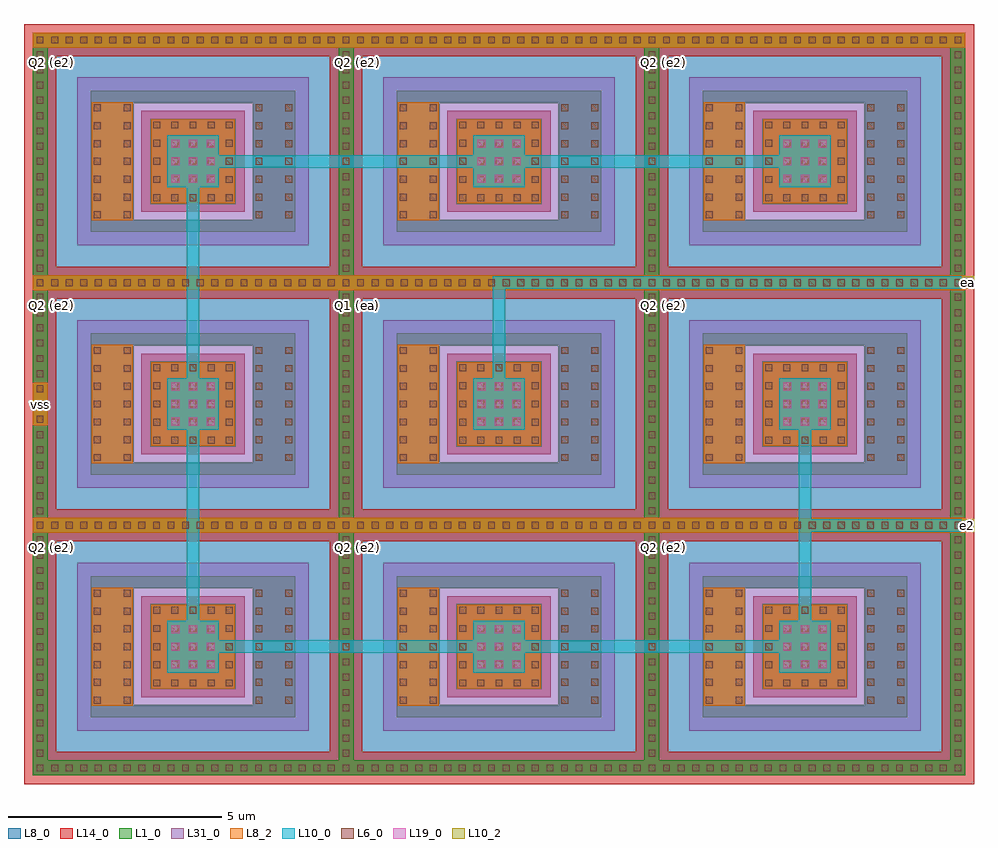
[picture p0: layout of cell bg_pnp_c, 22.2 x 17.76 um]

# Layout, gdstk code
import gdstk
lib = gdstk.Library(unit=1e-6, precision=1e-09)
def R(c, l, rs):  # rectangles x0, y0, x1, y1
    for r in rs: c.add(gdstk.rectangle(r[:2], r[2:], *l))
def A(c, l, x, y, w, h, nx, ny, dx, dy):  # array of equal rectangles
    R(c, l, [(x+i*dx, y+j*dy, x+i*dx+w, y+j*dy+h) for i in range(nx) for j in range(ny)])
def P(c, l, *ps):  # polygons
    for p in ps: c.add(gdstk.Polygon(p, *l))
L1_0 = (1, 0)
L6_0 = (6, 0)
L8_0 = (8, 0)
L8_2 = (8, 2)
L10_0 = (10, 0)
L10_2 = (10, 2)
L14_0 = (14, 0)
L19_0 = (19, 0)
L31_0 = (31, 0)

pnpmpa = lib.new_cell('pnpMPA')
R(pnpmpa, L1_0, [(-1,-1,1,1)])
P(pnpmpa, L1_0, [(-2.39,-1.65),(-2.39,1.36),(-1.39,1.36),(-1.39,-1.36),(1.39,-1.36),(1.39,1.36),(-2.39,1.36),(-2.39,1.65),(2.39,1.65),(2.39,-1.65)],
  [(-3.75,-3.01),(-3.75,2.66),(-3.4,2.66),(-3.4,-2.66),(3.4,-2.66),(3.4,2.66),(-3.75,2.66),(-3.75,3.01),(3.75,3.01),(3.75,-3.01)])
A(pnpmpa, L6_0, -3.655, -2.915, 0.16, 0.16, 11, 2, 0.34, 5.67)
A(pnpmpa, L6_0, 0.09, -2.915, 0.16, 0.16, 10, 2, 0.34, 5.67)
A(pnpmpa, L6_0, -3.655, -2.575, 0.16, 0.16, 1, 4, 0, 0.355)
A(pnpmpa, L6_0, 3.495, -2.575, 0.16, 0.16, 1, 4, 0, 0.355)
A(pnpmpa, L6_0, -2.32, -1.33, 0.16, 0.16, 1, 3, 0, 0.415)
A(pnpmpa, L6_0, -1.62, -1.33, 0.16, 0.16, 1, 3, 0, 0.415)
A(pnpmpa, L6_0, 1.46, -1.33, 0.16, 0.16, 1, 3, 0, 0.415)
A(pnpmpa, L6_0, 2.16, -1.33, 0.16, 0.16, 1, 3, 0, 0.415)
A(pnpmpa, L6_0, -3.655, -1.15, 0.16, 0.16, 1, 3, 0, 0.355)
A(pnpmpa, L6_0, 3.495, -1.15, 0.16, 0.16, 1, 3, 0, 0.355)
A(pnpmpa, L6_0, -0.93, -0.93, 0.16, 0.16, 5, 5, 0.425, 0.425)
A(pnpmpa, L6_0, -3.655, -0.08, 0.16, 0.16, 1, 4, 0, 0.355)
A(pnpmpa, L6_0, -2.32, -0.08, 0.16, 0.16, 1, 3, 0, 0.415)
A(pnpmpa, L6_0, -1.62, -0.08, 0.16, 0.16, 1, 3, 0, 0.415)
A(pnpmpa, L6_0, 1.46, -0.08, 0.16, 0.16, 1, 3, 0, 0.415)
A(pnpmpa, L6_0, 2.16, -0.08, 0.16, 0.16, 1, 3, 0, 0.415)
A(pnpmpa, L6_0, 3.495, -0.08, 0.16, 0.16, 1, 4, 0, 0.355)
A(pnpmpa, L6_0, -3.655, 1.345, 0.16, 0.16, 1, 3, 0, 0.355)
A(pnpmpa, L6_0, 3.495, 1.345, 0.16, 0.16, 1, 3, 0, 0.355)
R(pnpmpa, L6_0, [(3.495,-2.915,3.655,-2.755), (-2.32,1.17,-2.16,1.33), (-1.62,1.17,-1.46,1.33), (1.46,1.17,1.62,1.33), (2.16,1.17,2.32,1.33), (-3.655,2.415,-3.495,2.575), (3.495,2.415,3.655,2.575), (3.495,2.755,3.655,2.915)])
R(pnpmpa, L8_0, [(-3.75,-3.01,3.75,-2.66), (-3.75,-3.01,3.75,-2.66), (-3.75,-2.66,-3.4,2.66), (-3.75,-2.66,-3.4,2.66), (3.4,-2.66,3.75,2.66), (3.4,-2.66,3.75,2.66), (-2.37,-1.38,-1.41,1.38), (-2.37,-1.38,-1.41,1.38), (1.41,-1.38,2.37,1.38), (1.41,-1.38,2.37,1.38), (-0.98,-0.98,0.98,0.98), (-0.98,-0.98,0.98,0.98), (-3.75,2.66,3.75,3.01), (-3.75,2.66,3.75,3.01)])
P(pnpmpa, L8_0, [(-2.37,-1.63),(-2.37,1.38),(-1.41,1.38),(-1.41,-1.38),(1.41,-1.38),(1.41,1.38),(-2.37,1.38),(-2.37,1.63),(2.37,1.63),(2.37,-1.63)])
R(pnpmpa, L8_2, [(-2.37,-1.38,-1.41,1.38), (-0.98,-0.98,0.98,0.98), (-3.75,2.66,3.75,3.01)])
R(pnpmpa, L14_0, [(-1.21,-1.18,1.21,1.18)])
P(pnpmpa, L14_0, [(-3.95,-3.21),(-3.95,2.46),(-3.2,2.46),(-3.2,-2.46),(3.2,-2.46),(3.2,2.46),(-3.95,2.46),(-3.95,3.21),(3.95,3.21),(3.95,-3.21)])
R(pnpmpa, L31_0, [(-2.7,-1.96,2.7,1.96)])
pnpmpa.add(gdstk.Label('PLUS', (0,0), layer=63, texttype=0))
pnpmpa.add(gdstk.Label('MINUS', (-1.89,0), layer=63, texttype=0))
pnpmpa.add(gdstk.Label('pnpMPA', (0,-2.21), layer=63, texttype=0))
pnpmpa.add(gdstk.Label('TIE', (0,2.835), layer=63, texttype=0))

bg_pnp_c = lib.new_cell('bg_pnp_c')
P(bg_pnp_c, L8_0, [(0.55,-14.29),(0.55,-10),(1.58,-10),(1.58,-13.26),(6.32,-13.26),(6.32,-10),(0.55,-10),(0.55,-8.97),(7.35,-8.97),(7.35,-14.29)],
  [(0.55,-8.62),(0.55,-4.33),(1.58,-4.33),(1.58,-7.59),(6.32,-7.59),(6.32,-4.33),(0.55,-4.33),(0.55,-3.3),(7.35,-3.3),(7.35,-8.62)],
  [(0.55,-2.95),(0.55,1.34),(1.58,1.34),(1.58,-1.92),(6.32,-1.92),(6.32,1.34),(0.55,1.34),(0.55,2.37),(7.35,2.37),(7.35,-2.95)],
  [(7.7,-14.29),(7.7,-10),(8.73,-10),(8.73,-13.26),(13.47,-13.26),(13.47,-10),(7.7,-10),(7.7,-8.97),(14.5,-8.97),(14.5,-14.29)],
  [(7.7,-8.62),(7.7,-4.33),(8.73,-4.33),(8.73,-7.59),(13.47,-7.59),(13.47,-4.33),(7.7,-4.33),(7.7,-3.3),(14.5,-3.3),(14.5,-8.62)],
  [(7.7,-2.95),(7.7,1.34),(8.73,1.34),(8.73,-1.92),(13.47,-1.92),(13.47,1.34),(7.7,1.34),(7.7,2.37),(14.5,2.37),(14.5,-2.95)],
  [(14.85,-14.29),(14.85,-10),(15.88,-10),(15.88,-13.26),(20.62,-13.26),(20.62,-10),(14.85,-10),(14.85,-8.97),(21.65,-8.97),(21.65,-14.29)],
  [(14.85,-8.62),(14.85,-4.33),(15.88,-4.33),(15.88,-7.59),(20.62,-7.59),(20.62,-4.33),(14.85,-4.33),(14.85,-3.3),(21.65,-3.3),(21.65,-8.62)],
  [(14.85,-2.95),(14.85,1.34),(15.88,1.34),(15.88,-1.92),(20.62,-1.92),(20.62,1.34),(14.85,1.34),(14.85,2.37),(21.65,2.37),(21.65,-2.95)])
R(bg_pnp_c, L8_2, [(0.2,-6.46,0.55,-5.46)])
A(bg_pnp_c, L10_0, 3.345, -12.235, 1.21, 1.21, 3, 3, 7.15, 5.67)
R(bg_pnp_c, L10_0, [(3.805,-11.775,18.395,-11.485), (3.805,-11.775,4.095,-0.145), (18.105,-11.775,18.395,-5.815), (18.105,-8.94,22.2,-8.65), (10.955,-5.96,11.245,-2.98), (10.955,-3.27,22.2,-2.98), (3.805,-0.435,18.395,-0.145)])
R(bg_pnp_c, L10_2, [(21.91,-8.94,22.2,-8.65), (21.91,-3.27,22.2,-2.98)])
A(bg_pnp_c, L19_0, 3.445, -12.135, 0.19, 0.19, 3, 3, 0.41, 0.41)
A(bg_pnp_c, L19_0, 10.595, -12.135, 0.19, 0.19, 3, 3, 0.41, 0.41)
A(bg_pnp_c, L19_0, 17.745, -12.135, 0.19, 0.19, 3, 3, 0.41, 0.41)
A(bg_pnp_c, L19_0, 3.445, -6.465, 0.19, 0.19, 3, 3, 0.41, 0.41)
A(bg_pnp_c, L19_0, 10.595, -6.465, 0.19, 0.19, 3, 3, 0.41, 0.41)
A(bg_pnp_c, L19_0, 17.745, -6.465, 0.19, 0.19, 3, 3, 0.41, 0.41)
A(bg_pnp_c, L19_0, 3.445, -0.795, 0.19, 0.19, 3, 3, 0.41, 0.41)
A(bg_pnp_c, L19_0, 10.595, -0.795, 0.19, 0.19, 3, 3, 0.41, 0.41)
A(bg_pnp_c, L19_0, 17.745, -0.795, 0.19, 0.19, 3, 3, 0.41, 0.41)
r = gdstk.Reference(pnpmpa, (3.95,-11.63)); r.repetition = gdstk.Repetition(3, 3, v1=(7.15,0), v2=(0,5.67)); bg_pnp_c.add(r)
bg_pnp_c.add(gdstk.Label('Q2 (e2)', (0.65,-9.32), layer=63, texttype=0))
bg_pnp_c.add(gdstk.Label('Q2 (e2)', (7.8,-9.32), layer=63, texttype=0))
bg_pnp_c.add(gdstk.Label('Q2 (e2)', (14.95,-9.32), layer=63, texttype=0))
bg_pnp_c.add(gdstk.Label('Q2 (e2)', (0.65,-3.65), layer=63, texttype=0))
bg_pnp_c.add(gdstk.Label('Q1 (ea)', (7.8,-3.65), layer=63, texttype=0))
bg_pnp_c.add(gdstk.Label('Q2 (e2)', (14.95,-3.65), layer=63, texttype=0))
bg_pnp_c.add(gdstk.Label('Q2 (e2)', (0.65,2.02), layer=63, texttype=0))
bg_pnp_c.add(gdstk.Label('Q2 (e2)', (7.8,2.02), layer=63, texttype=0))
bg_pnp_c.add(gdstk.Label('Q2 (e2)', (14.95,2.02), layer=63, texttype=0))
bg_pnp_c.add(gdstk.Label('e2', (22.055,-8.795), layer=10, texttype=25))
bg_pnp_c.add(gdstk.Label('ea', (22.055,-3.125), layer=10, texttype=25))
bg_pnp_c.add(gdstk.Label('vss', (0.375,-5.96), layer=8, texttype=25))

lib.write_gds('bg_pnp_c.gds')
